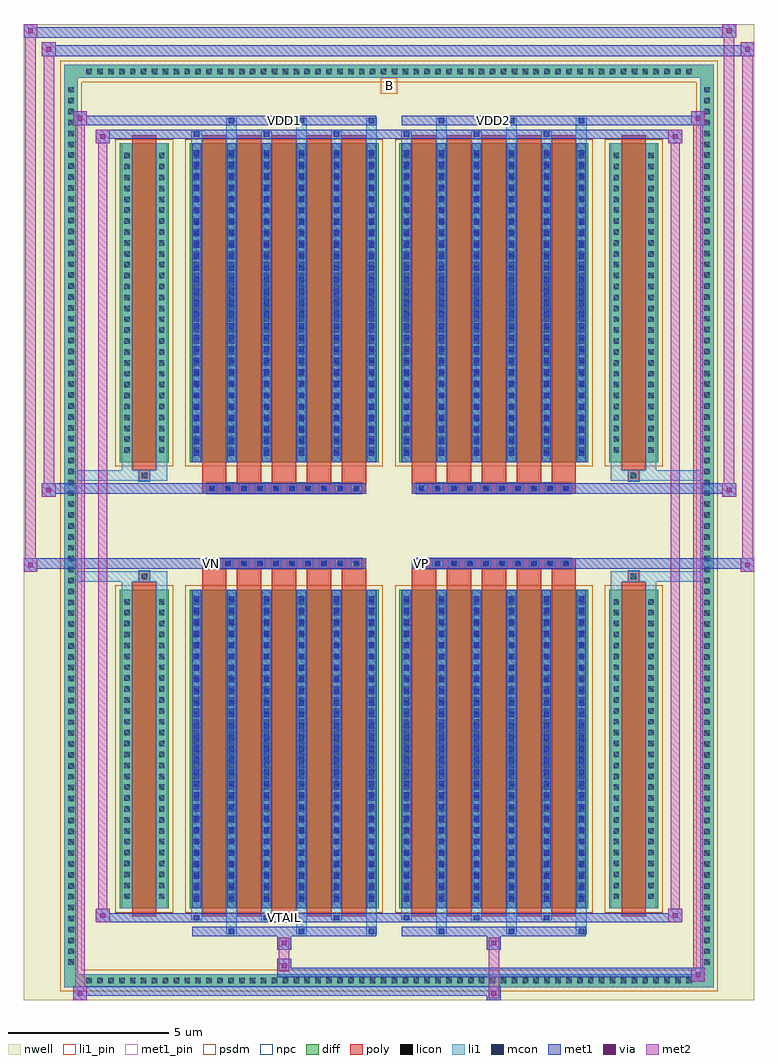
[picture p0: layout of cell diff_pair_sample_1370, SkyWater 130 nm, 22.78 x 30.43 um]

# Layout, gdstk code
import gdstk
lib = gdstk.Library(unit=1e-6, precision=5e-09)
def R(c, l, rs):  # rectangles x0, y0, x1, y1
    for r in rs: c.add(gdstk.rectangle(r[:2], r[2:], *l))
def A(c, l, x, y, w, h, nx, ny, dx, dy):  # array of equal rectangles
    R(c, l, [(x+i*dx, y+j*dy, x+i*dx+w, y+j*dy+h) for i in range(nx) for j in range(ny)])
def P(c, l, *ps):  # polygons
    for p in ps: c.add(gdstk.Polygon(p, *l))
nwell = (64, 20)
diff = (65, 20)
poly = (66, 20)
licon = (66, 44)
li1_pin = (67, 16)
li1 = (67, 20)
mcon = (67, 44)
met1_pin = (68, 16)
met1 = (68, 20)
via = (68, 44)
met2 = (69, 20)
psdm = (94, 20)
npc = (95, 20)

diff_pair_sample_1370 = lib.new_cell('diff_pair_sample_1370')
R(diff_pair_sample_1370, nwell, [(-11.39,-14.78,11.39,15.65), (-8.71,-12.97,-0.01,-0.805), (0.01,-12.97,8.71,-0.805), (-8.71,0.805,-0.01,12.97), (0.01,0.805,8.71,12.97)])
A(diff_pair_sample_1370, diff, -9.555, -14.38, 0.41, 0.41, 56, 2, 0.34, 28.35)
A(diff_pair_sample_1370, diff, -10.12, -13.805, 0.41, 0.41, 1, 81, 0, 0.34)
A(diff_pair_sample_1370, diff, 9.71, -13.805, 0.41, 0.41, 1, 81, 0, 0.34)
R(diff_pair_sample_1370, diff, [(-9.555,-14.38,9.555,-13.97), (-10.12,-13.805,-9.71,13.805), (9.71,-13.805,10.12,13.805), (-8.4,-11.925,-6.86,-1.985), (-6.22,-11.925,-0.32,-1.985), (0.32,-11.925,6.22,-1.985), (6.86,-11.925,8.4,-1.985), (-8.4,1.985,-6.86,11.925), (-6.22,1.985,-0.32,11.925), (0.32,1.985,6.22,11.925), (6.86,1.985,8.4,11.925), (-9.555,13.97,9.555,14.38)])
P(diff_pair_sample_1370, diff, [(10.12,14.38),(-10.12,14.38),(-10.12,-13.97),(-9.71,-13.97),(-9.71,13.97),(9.71,13.97),(9.71,-13.97),(-9.71,-13.97),(-10.12,-13.97),(-10.12,-14.38),(10.12,-14.38)])
A(diff_pair_sample_1370, poly, -5.83, -12.175, 0.76, 10.44, 5, 2, 1.09, 13.91)
A(diff_pair_sample_1370, poly, 0.71, -12.175, 0.76, 10.44, 5, 2, 1.09, 13.91)
A(diff_pair_sample_1370, poly, -5.83, -1.735, 0.76, 0.4, 5, 2, 1.09, 3.07)
A(diff_pair_sample_1370, poly, 0.71, -1.735, 0.76, 0.4, 5, 2, 1.09, 3.07)
A(diff_pair_sample_1370, poly, -5.685, -1.335, 0.33, 0.33, 10, 2, 0.5, 2.34)
A(diff_pair_sample_1370, poly, 0.855, -1.335, 0.33, 0.33, 10, 2, 0.5, 2.34)
R(diff_pair_sample_1370, poly, [(-8.01,-12.175,-7.25,-1.735), (7.25,-12.175,8.01,-1.735), (-7.795,-1.735,-7.465,-1.405), (-7.795,-1.735,-7.465,-1.405), (7.465,-1.735,7.795,-1.405), (7.465,-1.735,7.795,-1.405), (-5.83,-1.335,-0.71,-1.005), (0.71,-1.335,5.83,-1.005), (-5.83,1.005,-0.71,1.335), (0.71,1.005,5.83,1.335), (-7.795,1.405,-7.465,1.735), (-7.795,1.405,-7.465,1.735), (7.465,1.405,7.795,1.735), (7.465,1.405,7.795,1.735), (-8.01,1.735,-7.25,12.175), (7.25,1.735,8.01,12.175)])
A(diff_pair_sample_1370, licon, -9.435, -14.26, 0.17, 0.17, 56, 2, 0.34, 28.35)
A(diff_pair_sample_1370, licon, -10, -13.685, 0.17, 0.17, 1, 81, 0, 0.34)
A(diff_pair_sample_1370, licon, 9.83, -13.685, 0.17, 0.17, 1, 81, 0, 0.34)
A(diff_pair_sample_1370, licon, -8.26, -11.63, 0.17, 0.17, 16, 28, 1.09, 0.34)
A(diff_pair_sample_1370, licon, -5.605, -1.255, 0.17, 0.17, 10, 2, 0.5, 2.34)
A(diff_pair_sample_1370, licon, 0.935, -1.255, 0.17, 0.17, 10, 2, 0.5, 2.34)
A(diff_pair_sample_1370, licon, -8.26, 2.28, 0.17, 0.17, 16, 28, 1.09, 0.34)
R(diff_pair_sample_1370, licon, [(-7.715,-1.655,-7.545,-1.485), (7.545,-1.655,7.715,-1.485), (-7.715,1.485,-7.545,1.655), (7.545,1.485,7.715,1.655)])
R(diff_pair_sample_1370, li1_pin, [(-0.25,13.47,0.25,13.97)])
A(diff_pair_sample_1370, li1, -9.515, -14.34, 0.33, 0.33, 56, 2, 0.34, 28.35)
A(diff_pair_sample_1370, li1, -10.08, -13.765, 0.33, 0.33, 1, 81, 0, 0.34)
A(diff_pair_sample_1370, li1, 9.75, -13.765, 0.33, 0.33, 1, 81, 0, 0.34)
A(diff_pair_sample_1370, li1, -5.07, -12.73, 0.33, 0.805, 6, 2, 2.18, 24.655)
A(diff_pair_sample_1370, li1, -4.99, -12.73, 0.17, 0.17, 6, 2, 2.18, 25.29)
A(diff_pair_sample_1370, li1, -6.16, -12.3, 0.33, 0.375, 6, 2, 2.18, 24.225)
A(diff_pair_sample_1370, li1, -6.08, -12.3, 0.17, 0.17, 6, 2, 2.18, 24.43)
A(diff_pair_sample_1370, li1, -8.34, -11.925, 0.33, 9.94, 16, 2, 1.09, 13.91)
A(diff_pair_sample_1370, li1, -6.08, -11.72, 0.17, 0.17, 12, 27, 1.09, 0.36)
A(diff_pair_sample_1370, li1, -6.08, -11.72, 0.17, 9.53, 12, 2, 1.09, 13.91)
A(diff_pair_sample_1370, li1, -8.34, -11.71, 0.33, 0.33, 16, 28, 1.09, 0.34)
A(diff_pair_sample_1370, li1, -5.685, -1.335, 0.33, 0.33, 10, 2, 0.5, 2.34)
A(diff_pair_sample_1370, li1, 0.855, -1.335, 0.33, 0.33, 10, 2, 0.5, 2.34)
A(diff_pair_sample_1370, li1, -6.08, 2.19, 0.17, 0.17, 12, 27, 1.09, 0.36)
A(diff_pair_sample_1370, li1, -8.34, 2.2, 0.33, 0.33, 16, 28, 1.09, 0.34)
R(diff_pair_sample_1370, li1, [(-10.12,-14.38,-9.71,-13.97), (-10.12,-14.38,-9.71,-13.97), (-9.71,-14.38,9.71,-13.97), (9.71,-14.38,10.12,-13.97), (9.71,-14.38,10.12,-13.97), (-10.12,-13.97,-9.71,13.97), (9.71,-13.97,10.12,13.97), (-8.34,-1.985,-8.01,-1.405), (-7.25,-1.985,-6.92,-1.405), (6.92,-1.985,7.25,-1.405), (8.01,-1.985,8.34,-1.405), (-10.12,-1.735,-7.795,-1.405), (-8.34,-1.735,-7.795,-1.405), (-7.795,-1.735,-7.465,-1.405), (-7.465,-1.735,-6.92,-1.405), (6.92,-1.735,7.465,-1.405), (7.465,-1.735,7.795,-1.405), (7.465,-1.735,10.12,-1.405), (7.795,-1.735,8.34,-1.405), (-10.12,1.405,-7.795,1.735), (-8.34,1.405,-7.795,1.735), (-8.34,1.405,-8.01,1.985), (-7.795,1.405,-7.465,1.735), (-7.465,1.405,-6.92,1.735), (-7.25,1.405,-6.92,1.985), (6.92,1.405,7.465,1.735), (6.92,1.405,7.25,1.985), (7.465,1.405,7.795,1.735), (7.465,1.405,10.12,1.735), (7.795,1.405,8.34,1.735), (8.01,1.405,8.34,1.985), (-10.12,13.97,-9.71,14.38), (-10.12,13.97,-9.71,14.38), (-9.71,13.97,9.71,14.38), (9.71,13.97,10.12,14.38), (9.71,13.97,10.12,14.38)])
A(diff_pair_sample_1370, mcon, -4.99, -12.73, 0.17, 0.17, 6, 2, 2.18, 25.29)
A(diff_pair_sample_1370, mcon, -6.08, -12.3, 0.17, 0.17, 6, 2, 2.18, 24.43)
A(diff_pair_sample_1370, mcon, -6.08, -11.72, 0.17, 0.17, 12, 27, 1.09, 0.36)
A(diff_pair_sample_1370, mcon, -5.605, -1.255, 0.17, 0.17, 10, 2, 0.5, 2.34)
A(diff_pair_sample_1370, mcon, 0.935, -1.255, 0.17, 0.17, 10, 2, 0.5, 2.34)
A(diff_pair_sample_1370, mcon, -6.08, 2.19, 0.17, 0.17, 12, 27, 1.09, 0.36)
R(diff_pair_sample_1370, met1_pin, [(-3.405,-12.34,-3.135,-12.07), (-5.655,-1.295,-5.385,-1.025), (0.885,-1.295,1.155,-1.025), (-3.405,12.52,-3.135,12.79), (3.135,12.52,3.405,12.79)])
A(diff_pair_sample_1370, met1, -5.05, -12.79, 0.29, 0.29, 6, 2, 2.18, 25.29)
A(diff_pair_sample_1370, met1, -6.14, -12.36, 0.29, 0.29, 6, 2, 2.18, 24.43)
A(diff_pair_sample_1370, met1, -6.14, -11.925, 0.29, 9.94, 12, 2, 1.09, 13.91)
A(diff_pair_sample_1370, met1, -6.14, -11.78, 0.29, 0.29, 12, 27, 1.09, 0.36)
A(diff_pair_sample_1370, met1, -5.665, -1.315, 0.29, 0.29, 10, 2, 0.5, 2.34)
A(diff_pair_sample_1370, met1, 0.875, -1.315, 0.29, 0.29, 10, 2, 0.5, 2.34)
A(diff_pair_sample_1370, met1, -6.14, 2.13, 0.29, 0.29, 12, 27, 1.09, 0.36)
R(diff_pair_sample_1370, met1, [(-9.85,-14.78,-9.42,-14.35), (3.055,-14.78,3.485,-14.35), (-9.85,-14.64,3.485,-14.35), (9.42,-14.21,9.85,-13.78), (-3.485,-14.07,9.85,-13.78), (-3.485,-13.93,-3.055,-13.5), (-3.485,-13.22,-3.055,-12.79), (3.055,-13.22,3.485,-12.79), (-6.14,-12.79,-0.4,-12.5), (0.4,-12.79,6.14,-12.5), (-9.14,-12.36,-8.71,-11.93), (-9.14,-12.36,-6.14,-12.07), (-6.14,-12.36,-0.4,-12.07), (-0.4,-12.36,0.4,-12.07), (0.4,-12.36,6.14,-12.07), (6.14,-12.36,9.14,-12.07), (8.71,-12.36,9.14,-11.93), (-11.39,-1.435,-10.96,-1.005), (10.96,-1.435,11.39,-1.005), (-11.39,-1.335,-0.71,-1.005), (-5.83,-1.335,-0.71,-1.005), (0.71,-1.335,5.83,-1.005), (0.71,-1.335,11.39,-1.005), (-10.82,0.905,-10.39,1.335), (10.39,0.905,10.82,1.335), (-10.82,1.005,-5.83,1.335), (-5.83,1.005,-0.71,1.335), (0.71,1.005,5.83,1.335), (5.83,1.005,10.82,1.335), (-9.14,11.93,-8.71,12.36), (8.71,11.93,9.14,12.36), (-9.14,12.07,-6.14,12.36), (-6.14,12.07,-0.4,12.36), (-0.4,12.07,0.4,12.36), (0.4,12.07,6.14,12.36), (6.14,12.07,9.14,12.36), (-9.85,12.5,-9.42,12.93), (-9.85,12.5,-6.14,12.79), (-6.14,12.5,-0.4,12.79), (0.4,12.5,6.14,12.79), (6.14,12.5,9.85,12.79), (9.42,12.5,9.85,12.93), (-10.82,14.65,-10.39,15.08), (-10.82,14.65,-8.71,14.98), (-8.71,14.65,8.71,14.98), (8.71,14.65,11.39,14.98), (10.96,14.65,11.39,15.08), (-11.39,15.22,-10.96,15.65), (-11.39,15.22,-8.71,15.55), (-8.71,15.22,8.71,15.55), (8.71,15.22,10.82,15.55), (10.39,15.22,10.82,15.65)])
R(diff_pair_sample_1370, via, [(-9.71,-14.64,-9.56,-14.49), (3.195,-14.64,3.345,-14.49), (9.56,-14.07,9.71,-13.92), (-3.345,-13.79,-3.195,-13.64), (-3.345,-13.08,-3.195,-12.93), (3.195,-13.08,3.345,-12.93), (-9,-12.22,-8.85,-12.07), (8.85,-12.22,9,-12.07), (-11.25,-1.295,-11.1,-1.145), (11.1,-1.295,11.25,-1.145), (-10.68,1.045,-10.53,1.195), (10.53,1.045,10.68,1.195), (-9,12.07,-8.85,12.22), (8.85,12.07,9,12.22), (-9.71,12.64,-9.56,12.79), (9.56,12.64,9.71,12.79), (-10.68,14.79,-10.53,14.94), (11.1,14.79,11.25,14.94), (-11.25,15.36,-11.1,15.51), (10.53,15.36,10.68,15.51)])
R(diff_pair_sample_1370, met2, [(-9.85,-14.78,-9.42,-14.35), (-9.78,-14.78,-9.49,12.93), (-9.49,-14.78,-9.42,-14.35), (-9.8,-14.73,-9.47,-14.4), (3.105,-14.73,3.435,-14.4), (3.105,-14.4,3.435,-13.17), (9.42,-14.21,9.85,-13.78), (9.49,-14.21,9.78,12.93), (9.78,-14.21,9.85,-13.78), (9.47,-14.16,9.8,-13.83), (-3.435,-13.88,-3.105,-13.55), (-3.435,-13.55,-3.105,-13.17), (-3.435,-13.17,-3.105,-12.84), (3.105,-13.17,3.435,-12.84), (-9.14,-12.36,-8.71,-11.93), (-9.07,-12.36,-8.78,12.36), (-8.78,-12.36,-8.71,-11.93), (8.71,-12.36,9.14,-11.93), (8.78,-12.36,9.07,12.36), (9.07,-12.36,9.14,-11.93), (-9.09,-12.31,-8.76,-11.98), (8.76,-12.31,9.09,-11.98), (-11.39,-1.435,-10.96,-1.005), (-11.34,-1.435,-11.01,15.65), (-11.01,-1.435,-10.96,-1.005), (10.96,-1.435,11.39,-1.005), (11.01,-1.435,11.34,15.08), (11.34,-1.435,11.39,-1.005), (-11.34,-1.385,-11.01,-1.055), (11.01,-1.385,11.34,-1.055), (-10.82,0.905,-10.39,1.335), (-10.77,0.905,-10.44,15.08), (-10.44,0.905,-10.39,1.335), (10.39,0.905,10.82,1.335), (10.44,0.905,10.77,15.65), (10.77,0.905,10.82,1.335), (-10.77,0.955,-10.44,1.285), (10.44,0.955,10.77,1.285), (-9.14,11.93,-8.71,12.36), (-8.78,11.93,-8.71,12.36), (8.71,11.93,9.14,12.36), (9.07,11.93,9.14,12.36), (-9.09,11.98,-8.76,12.31), (8.76,11.98,9.09,12.31), (-9.85,12.5,-9.42,12.93), (-9.49,12.5,-9.42,12.93), (9.42,12.5,9.85,12.93), (9.78,12.5,9.85,12.93), (-9.8,12.55,-9.47,12.88), (9.47,12.55,9.8,12.88), (-10.82,14.65,-10.39,15.08), (-10.44,14.65,-10.39,15.08), (10.96,14.65,11.39,15.08), (11.34,14.65,11.39,15.08), (-10.77,14.7,-10.44,15.03), (11.01,14.7,11.34,15.03), (-11.39,15.22,-10.96,15.65), (-11.01,15.22,-10.96,15.65), (10.39,15.22,10.82,15.65), (10.77,15.22,10.82,15.65), (-11.34,15.27,-11.01,15.6), (10.44,15.27,10.77,15.6)])
R(diff_pair_sample_1370, psdm, [(-8.53,-12.055,-6.73,-1.855), (-6.35,-12.055,-0.19,-1.855), (0.19,-12.055,6.35,-1.855), (6.73,-12.055,8.53,-1.855), (-8.53,1.855,-6.73,12.055), (-6.35,1.855,-0.19,12.055), (0.19,1.855,6.35,12.055), (6.73,1.855,8.53,12.055)])
P(diff_pair_sample_1370, psdm, [(10.25,14.51),(-10.25,14.51),(-10.25,-13.84),(-9.58,-13.84),(-9.58,13.84),(9.58,13.84),(9.58,-13.84),(-9.58,-13.84),(-10.25,-13.84),(-10.25,-14.51),(10.25,-14.51)])
A(diff_pair_sample_1370, npc, -5.705, -1.355, 0.37, 0.37, 10, 2, 0.5, 2.34)
A(diff_pair_sample_1370, npc, 0.835, -1.355, 0.37, 0.37, 10, 2, 0.5, 2.34)
R(diff_pair_sample_1370, npc, [(-7.815,-1.755,-7.445,-1.385), (7.445,-1.755,7.815,-1.385), (-5.705,-1.355,-4.835,-0.985), (-5.705,-1.355,-4.835,-0.985), (-5.205,-1.355,-4.335,-0.985), (-5.205,-1.355,-4.335,-0.985), (-4.705,-1.355,-3.835,-0.985), (-4.705,-1.355,-3.835,-0.985), (-4.205,-1.355,-3.335,-0.985), (-4.205,-1.355,-3.335,-0.985), (-3.705,-1.355,-2.835,-0.985), (-3.705,-1.355,-2.835,-0.985), (-3.205,-1.355,-2.335,-0.985), (-3.205,-1.355,-2.335,-0.985), (-2.705,-1.355,-1.835,-0.985), (-2.705,-1.355,-1.835,-0.985), (-2.205,-1.355,-1.335,-0.985), (-2.205,-1.355,-1.335,-0.985), (-1.705,-1.355,-0.835,-0.985), (-1.705,-1.355,-0.835,-0.985), (0.835,-1.355,1.705,-0.985), (0.835,-1.355,1.705,-0.985), (1.335,-1.355,2.205,-0.985), (1.335,-1.355,2.205,-0.985), (1.835,-1.355,2.705,-0.985), (1.835,-1.355,2.705,-0.985), (2.335,-1.355,3.205,-0.985), (2.335,-1.355,3.205,-0.985), (2.835,-1.355,3.705,-0.985), (2.835,-1.355,3.705,-0.985), (3.335,-1.355,4.205,-0.985), (3.335,-1.355,4.205,-0.985), (3.835,-1.355,4.705,-0.985), (3.835,-1.355,4.705,-0.985), (4.335,-1.355,5.205,-0.985), (4.335,-1.355,5.205,-0.985), (4.835,-1.355,5.705,-0.985), (4.835,-1.355,5.705,-0.985), (-5.705,0.985,-4.835,1.355), (-5.705,0.985,-4.835,1.355), (-5.205,0.985,-4.335,1.355), (-5.205,0.985,-4.335,1.355), (-4.705,0.985,-3.835,1.355), (-4.705,0.985,-3.835,1.355), (-4.205,0.985,-3.335,1.355), (-4.205,0.985,-3.335,1.355), (-3.705,0.985,-2.835,1.355), (-3.705,0.985,-2.835,1.355), (-3.205,0.985,-2.335,1.355), (-3.205,0.985,-2.335,1.355), (-2.705,0.985,-1.835,1.355), (-2.705,0.985,-1.835,1.355), (-2.205,0.985,-1.335,1.355), (-2.205,0.985,-1.335,1.355), (-1.705,0.985,-0.835,1.355), (-1.705,0.985,-0.835,1.355), (0.835,0.985,1.705,1.355), (0.835,0.985,1.705,1.355), (1.335,0.985,2.205,1.355), (1.335,0.985,2.205,1.355), (1.835,0.985,2.705,1.355), (1.835,0.985,2.705,1.355), (2.335,0.985,3.205,1.355), (2.335,0.985,3.205,1.355), (2.835,0.985,3.705,1.355), (2.835,0.985,3.705,1.355), (3.335,0.985,4.205,1.355), (3.335,0.985,4.205,1.355), (3.835,0.985,4.705,1.355), (3.835,0.985,4.705,1.355), (4.335,0.985,5.205,1.355), (4.335,0.985,5.205,1.355), (4.835,0.985,5.705,1.355), (4.835,0.985,5.705,1.355), (-7.815,1.385,-7.445,1.755), (7.445,1.385,7.815,1.755)])
diff_pair_sample_1370.add(gdstk.Label('VTAIL', (-3.27,-12.205), layer=68, texttype=5))
diff_pair_sample_1370.add(gdstk.Label('VN', (-5.52,-1.16), layer=68, texttype=5))
diff_pair_sample_1370.add(gdstk.Label('VP', (1.02,-1.16), layer=68, texttype=5))
diff_pair_sample_1370.add(gdstk.Label('B', (0,13.72), layer=67, texttype=5))
diff_pair_sample_1370.add(gdstk.Label('VDD2', (3.27,12.655), layer=68, texttype=5))
diff_pair_sample_1370.add(gdstk.Label('VDD1', (-3.27,12.655), layer=68, texttype=5))

lib.write_gds('diff_pair_sample_1370.gds')
